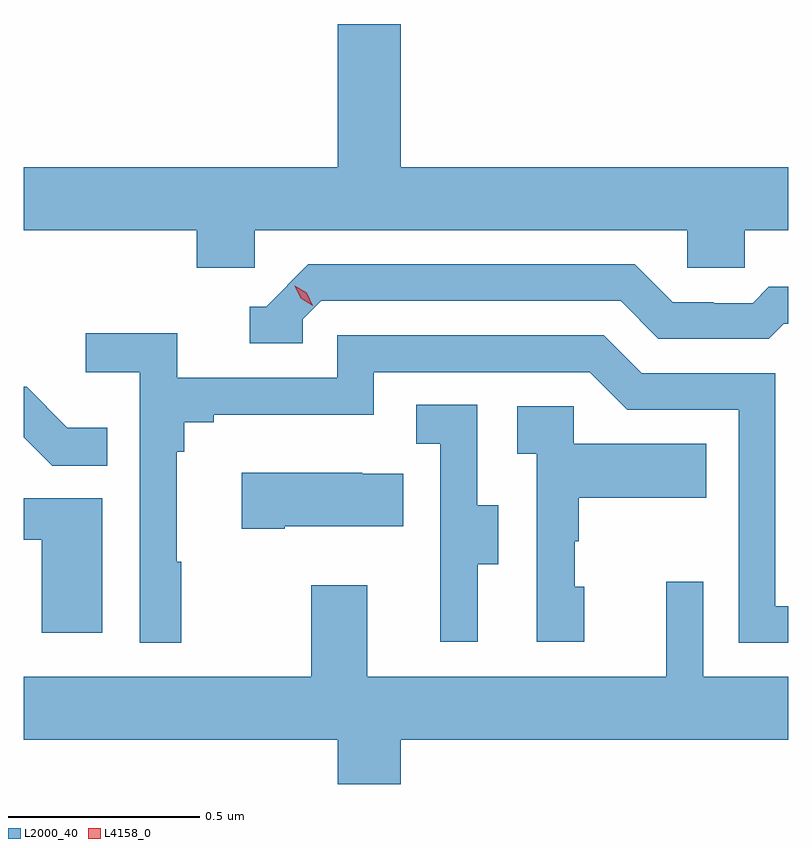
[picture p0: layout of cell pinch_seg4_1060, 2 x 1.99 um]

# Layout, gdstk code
import gdstk
lib = gdstk.Library(unit=1e-6, precision=1e-09)
def P(c, l, *ps):  # polygons
    for p in ps: c.add(gdstk.Polygon(p, *l))
L2000_40 = (2000, 40)
L4158_0 = (4158, 0)

pinch_seg4_1060 = lib.new_cell('pinch_seg4_1060')
P(pinch_seg4_1060, L2000_40, [(812.142,767.516),(813.273,767.516),(813.273,767.418),(813.423,767.418),(813.423,767.516),(813.538,767.516),(813.538,767.68),(812.524,767.68),(812.524,768.055),(812.36,768.055),(812.36,767.68),(811.538,767.68),(811.538,767.516),(811.991,767.516),(811.991,767.418),(812.142,767.418)],
  [(812.268,767.283),(812.316,767.331),(813.099,767.331),(813.198,767.232),(813.487,767.232),(813.526,767.271),(813.538,767.271),(813.538,767.368),(813.487,767.368),(813.445,767.325),(813.342,767.325),(813.342,767.328),(813.235,767.328),(813.136,767.427),(812.283,767.427),(812.172,767.316),(812.129,767.316),(812.129,767.22),(812.268,767.22)],
  [(811.951,766.649),(811.939,766.649),(811.939,766.937),(811.958,766.937),(811.958,767.014),(812.035,767.014),(812.035,767.033),(812.454,767.033),(812.454,767.145),(813.018,767.145),(813.117,767.046),(813.408,767.046),(813.408,766.437),(813.538,766.437),(813.538,766.533),(813.504,766.533),(813.504,767.142),(813.154,767.142),(813.055,767.241),(812.358,767.241),(812.358,767.13),(811.94,767.13),(811.94,767.246),(811.701,767.246),(811.701,767.144),(811.842,767.144),(811.842,766.437),(811.951,766.437)],
  [(811.757,766.999),(811.653,766.999),(811.546,767.106),(811.538,767.106),(811.538,766.975),(811.613,766.9),(811.757,766.9)],
  [(812.725,766.642),(812.779,766.642),(812.779,766.797),(812.724,766.797),(812.724,767.06),(812.565,767.06),(812.565,766.957),(812.628,766.957),(812.628,766.653),(812.627,766.653),(812.627,766.44),(812.725,766.44)],
  [(813.004,766.584),(812.979,766.584),(812.979,766.703),(812.989,766.703),(812.989,766.817),(813.323,766.817),(813.323,766.957),(812.976,766.957),(812.976,767.055),(812.829,767.055),(812.829,766.931),(812.88,766.931),(812.88,766.44),(813.004,766.44)],
  [(812.221,766.742),(812.531,766.742),(812.531,766.879),(812.423,766.879),(812.423,766.882),(812.109,766.882),(812.109,766.735),(812.221,766.735)],
  [(811.744,766.815),(811.538,766.815),(811.538,766.707),(811.586,766.707),(811.586,766.464),(811.744,766.464)],
  [(812.524,766.184),(813.538,766.184),(813.538,766.348),(813.315,766.348),(813.315,766.597),(813.218,766.597),(813.218,766.348),(812.437,766.348),(812.437,766.588),(812.29,766.588),(812.29,766.348),(811.538,766.348),(811.538,766.184),(812.36,766.184),(812.36,766.068),(812.524,766.068)])
P(pinch_seg4_1060, L4158_0, [(812.294,767.319),(812.263,767.338),(812.247,767.371),(812.247,767.371),(812.247,767.371),(812.278,767.352),(812.294,767.319),(812.294,767.319)])

lib.write_gds('pinch_seg4_1060.gds')
